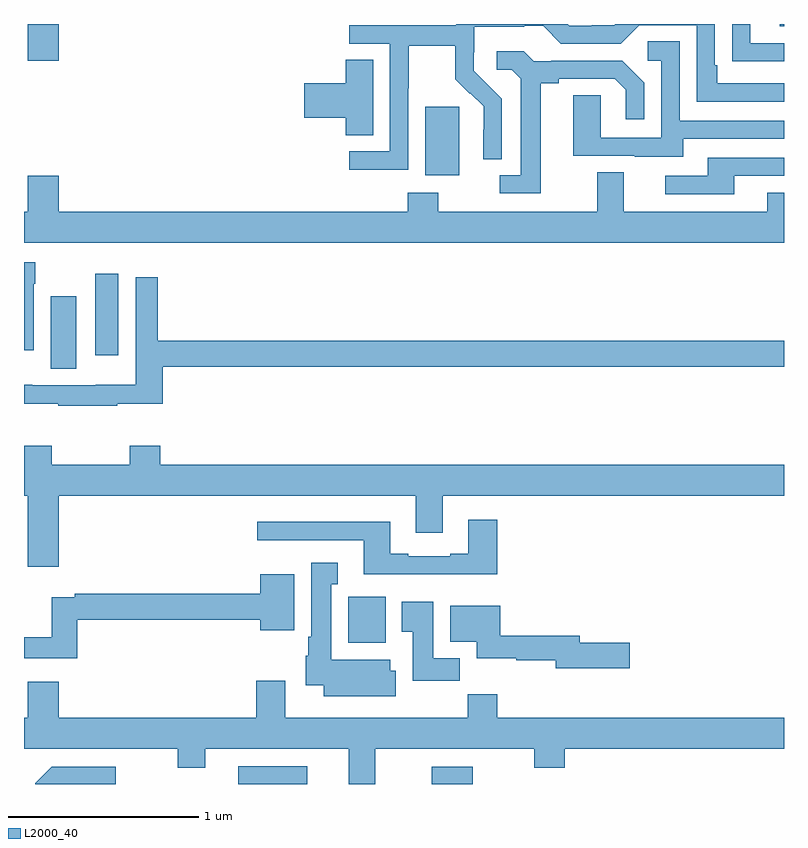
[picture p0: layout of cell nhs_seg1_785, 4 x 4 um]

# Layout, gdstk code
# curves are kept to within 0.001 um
import gdstk
lib = gdstk.Library(unit=1e-6, precision=1e-09)
def R(c, l, rs):  # rectangles x0, y0, x1, y1
    for r in rs: c.add(gdstk.rectangle(r[:2], r[2:], *l))
def P(c, l, *ps):  # polygons
    for p in ps: c.add(gdstk.Polygon(p, *l))
L2000_40 = (2000, 40)

nhs_seg1_785 = lib.new_cell('nhs_seg1_785')
R(nhs_seg1_785, L2000_40, [(154.127,566.199,154.492,566.292), (155.147,566.199,155.362,566.289), (154.706,566.942,154.903,567.184), (153.14,568.384,153.274,568.765), (153.374,568.455,153.496,568.885), (155.111,569.402,155.29,569.763), (153.02,570.006,153.184,570.199), (156.977,570.186,157,570.199)])
P(nhs_seg1_785, L2000_40, [(155.022,569.86),(155.025,569.86),(155.025,570.084),(155.269,570.084),(155.269,569.909),(155.346,569.832),(155.349,569.835),(155.42,569.765),(155.42,569.642),(155.418,569.642),(155.418,569.488),(155.514,569.488),(155.514,569.806),(155.368,569.954),(155.368,570.051),(155.37,570.051),(155.37,570.185),(155.633,570.185),(155.633,570.189),(155.733,570.189),(155.826,570.096),(156.141,570.096),(156.237,570.192),(156.54,570.192),(156.54,569.79),(157,569.79),(157,569.886),(156.649,569.886),(156.649,569.983),(156.636,569.983),(156.636,570.199),(156.112,570.199),(156.105,570.192),(155.987,570.192),(155.987,570.189),(155.871,570.189),(155.861,570.199),(155.274,570.199),(155.274,570.192),(154.713,570.192),(154.713,570.096),(154.926,570.096),(154.926,569.529),(154.713,569.529),(154.713,569.431),(155.022,569.431)],
  [(157,570.099),(156.823,570.099),(156.823,570.199),(156.727,570.199),(156.727,570.004),(156.829,570.004),(156.829,570.003),(157,570.003)],
  [(156.469,569.595),(157,569.595),(157,569.691),(156.45,569.691),(156.45,570.107),(156.282,570.107),(156.282,570.006),(156.354,570.006),(156.354,569.601),(156.036,569.601),(156.036,569.825),(155.891,569.825),(155.891,569.505),(156.215,569.505),(156.215,569.501),(156.469,569.501)],
  [(155.719,569.888),(155.815,569.888),(155.815,569.91),(156.11,569.91),(156.167,569.853),(156.167,569.697),(156.264,569.697),(156.264,569.89),(156.148,570.006),(155.776,570.006),(155.776,570.003),(155.682,570.003),(155.63,570.055),(155.487,570.055),(155.487,569.958),(155.568,569.958),(155.615,569.911),(155.615,569.403),(155.505,569.403),(155.505,569.307),(155.719,569.307)],
  [(154.837,570.011),(154.694,570.011),(154.694,569.888),(154.476,569.888),(154.476,569.705),(154.694,569.705),(154.694,569.614),(154.837,569.614)],
  [(156.739,569.4),(157,569.4),(157,569.496),(156.599,569.496),(156.599,569.4),(156.375,569.4),(156.375,569.304),(156.739,569.304)],
  [(153.02,569.401),(153.02,569.212),(153,569.212),(153,569.048),(157,569.048),(157,569.311),(156.911,569.311),(156.911,569.212),(156.157,569.212),(156.157,569.42),(156.017,569.42),(156.017,569.212),(155.181,569.212),(155.181,569.311),(155.021,569.311),(155.021,569.212),(153.184,569.212),(153.184,569.401)],
  [(153.052,568.832),(153.06,568.832),(153.06,568.945),(153,568.945),(153,568.482),(153.052,568.482)],
  [(153.491,568.201),(153.731,568.201),(153.731,568.396),(157,568.396),(157,568.532),(153.704,568.532),(153.704,568.867),(153.588,568.867),(153.588,568.3),(153.378,568.3),(153.378,568.299),(153.044,568.299),(153.044,568.301),(153,568.301),(153,568.201),(153.181,568.201),(153.181,568.191),(153.491,568.191)],
  [(153.184,567.716),(155.063,567.716),(155.063,567.522),(155.203,567.522),(155.203,567.716),(157,567.716),(157,567.88),(153.716,567.88),(153.716,567.979),(153.556,567.979),(153.556,567.88),(153.147,567.88),(153.147,567.979),(153,567.979),(153,567.716),(153.02,567.716),(153.02,567.342),(153.184,567.342)],
  [(155.492,567.589),(155.339,567.589),(155.339,567.412),(155.243,567.412),(155.243,567.399),(155.023,567.399),(155.023,567.412),(154.927,567.412),(154.927,567.58),(154.227,567.58),(154.227,567.483),(154.787,567.483),(154.787,567.302),(155.492,567.302)],
  [(154.957,566.795),(154.927,566.795),(154.927,566.854),(154.618,566.854),(154.618,567.251),(154.651,567.251),(154.651,567.364),(154.511,567.364),(154.511,566.974),(154.496,566.974),(154.496,566.874),(154.484,566.874),(154.484,566.72),(154.577,566.72),(154.577,566.66),(154.957,566.66)],
  [(153.281,567.064),(154.244,567.064),(154.244,567.008),(154.423,567.008),(154.423,567.304),(154.244,567.304),(154.244,567.2),(153.268,567.2),(153.268,567.181),(153.145,567.181),(153.145,566.971),(153,566.971),(153,566.862),(153.281,566.862)],
  [(155.294,566.86),(155.155,566.86),(155.155,567.157),(154.988,567.157),(154.988,567.001),(155.045,567.001),(155.045,566.742),(155.294,566.742)],
  [(156.187,566.942),(155.926,566.942),(155.926,566.978),(155.507,566.978),(155.507,567.136),(155.243,567.136),(155.243,566.948),(155.384,566.948),(155.384,566.861),(155.59,566.861),(155.59,566.85),(155.798,566.85),(155.798,566.807),(156.187,566.807)],
  [(154.849,566.384),(155.686,566.384),(155.686,566.285),(155.846,566.285),(155.846,566.384),(157,566.384),(157,566.548),(155.492,566.548),(155.492,566.672),(155.335,566.672),(155.335,566.548),(154.375,566.548),(154.375,566.743),(154.223,566.743),(154.223,566.548),(153.184,566.548),(153.184,566.737),(153.02,566.737),(153.02,566.548),(153,566.548),(153,566.384),(153.808,566.384),(153.808,566.285),(153.955,566.285),(153.955,566.384),(154.709,566.384),(154.709,566.199),(154.849,566.199)],
  [(153.484,566.289),(153.147,566.289),(153.06,566.202),(153.06,566.199),(153.484,566.199)])

lib.write_gds('nhs_seg1_785.gds')
